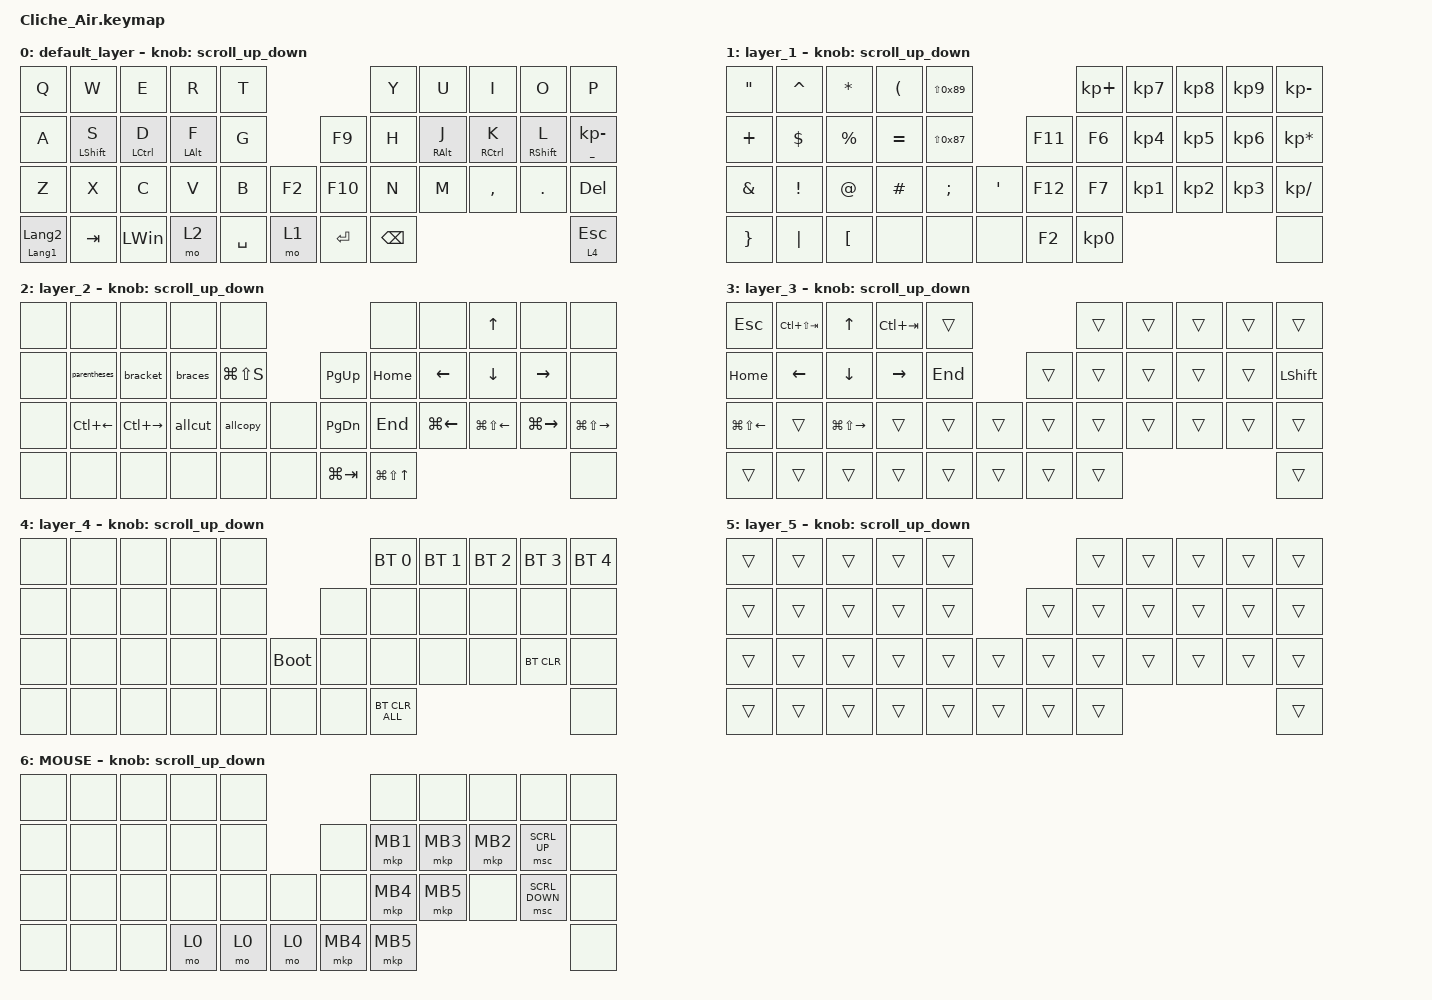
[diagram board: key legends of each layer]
#include <input/processors.dtsi>
#include <dt-bindings/zmk/input_transform.h>
#include <zephyr/dt-bindings/input/input-event-codes.h>
#include <behaviors.dtsi>
#include <dt-bindings/zmk/bt.h>
#include <dt-bindings/zmk/keys.h>
#include <dt-bindings/zmk/pointing.h>

// OS設定を日本語キーボードのまま使用するための変換定義
#define JP_DQUOTE       AT                // "
#define JP_AMPERSAND    CARET             // &
#define JP_QUOTE        AMPERSAND         // '
#define JP_EQUAL        UNDER             // =
#define JP_CARET        EQUAL             // ^
#define JP_YEN          0x89              // ¥
#define JP_PLUS         COLON             // +
#define JP_TILDE        PLUS              // ~
#define JP_PIPE         LS(0x89)          // |
#define JP_AT           LEFT_BRACKET      // @
#define JP_COLON        SINGLE_QUOTE      // :
#define JP_ASTERISK     DOUBLE_QUOTES     // *
#define JP_BACKQUOTE    LEFT_BRACE        // `
#define JP_UNDERSCORE   LS(0x87)          // _
#define JP_LBRACKET     RIGHT_BRACKET     // [
#define JP_RBRACKET     BACKSLASH         // ]
#define JP_LPAREN       ASTERISK          // (
#define JP_RPAREN       LEFT_PARENTHESIS  // )
#define JP_LBRACE       RIGHT_BRACE       // {
#define JP_RBRACE       PIPE              // }
#define JP_KANA         LANGUAGE_1        // かな
#define JP_EISU         LANGUAGE_2        // 英数
#define JP_HANZEN       GRAVE             // 半角/全角

#undef ZMK_POINTING_DEFAULT_SCRL_VAL

#define ZMK_POINTING_DEFAULT_SCRL_VAL 100
#define MOUSE 6

&mkp_input_listener {
    input-processors = <&zip_temp_layer 5 250>;
};

&mt {
    flavor = "balanced";
    quick-tap-ms = <0>;
};

/ {
    macros {
        exit_AML: exit_AML {
            compatible = "zmk,behavior-macro";
            wait-ms = <0>;
            tap-ms = <0>;
            #binding-cells = <0>;
            bindings = <&tog_off MOUSE>;
            label = "exit_AML";
        };

        kp_exit_AML: kp_exit_AML {
            compatible = "zmk,behavior-macro-one-param";
            wait-ms = <0>;
            tap-ms = <0>;
            #binding-cells = <1>;
            bindings = <&macro_param_1to1 &kp MACRO_PLACEHOLDER &exit_AML>;
            label = "KP_exit_AML";
        };
    };

    behaviors {
        tog_off: toggle_layer_off {
            compatible = "zmk,behavior-toggle-layer";
            #binding-cells = <1>;
            display-name = "Toggle Layer Off";
            toggle-mode = "off";
        };

        mt_exit_AML_on_tap: mt_exit_AML_on_tap {
            compatible = "zmk,behavior-hold-tap";
            label = "MT_exit_AML_ON_TAP";
            bindings = <&kp>, <&kp_exit_AML>;

            #binding-cells = <2>;
            tapping-term-ms = <200>;
            flavor = "balanced";
            quick-tap-ms = <200>;
        };
    };
};

/ {
    combos { compatible = "zmk,combos"; };

    macros {
        to_layer_0: to_layer_0 {
            compatible = "zmk,behavior-macro-one-param";
            #binding-cells = <1>;
            bindings = <&to 0 &macro_param_1to1 &kp MACRO_PLACEHOLDER>;
            label = "TO_LAYER_0";
        };

        parentheses: parentheses {
            compatible = "zmk,behavior-macro";
            #binding-cells = <0>;
            bindings = <&kp JP_EISU &kp JP_LPAREN &kp JP_RPAREN &kp LEFT_ARROW>;
            label = "PARENTHESES";
        };

        bracket: bracket {
            compatible = "zmk,behavior-macro";
            #binding-cells = <0>;
            bindings = <&kp JP_EISU &kp JP_LBRACKET &kp JP_RBRACKET &kp LEFT_ARROW>;
            label = "BRACKET";
        };

        braces: braces {
            compatible = "zmk,behavior-macro";
            #binding-cells = <0>;
            bindings = <&kp LANG1 &kp JP_LBRACE &kp JP_RBRACE &kp LEFT_ARROW>;
            label = "BRACES";
        };

        screenshot: screenshot {
            compatible = "zmk,behavior-macro";
            #binding-cells = <0>;
            bindings =
                <&macro_press>,
                <&kp LEFT_WIN>,
                <&macro_press>,
                <&kp LEFT_SHIFT &kp S>;

            label = "SCREENSHOT";
        };

        allcopy: allcopy {
            compatible = "zmk,behavior-macro";
            #binding-cells = <0>;
            bindings = <&macro_press>, <&kp LC(A)>, <&macro_press>, <&kp LC(C)>;

            label = "ALLCOPY";
        };

        allcut: allcut {
            compatible = "zmk,behavior-macro";
            #binding-cells = <0>;
            bindings = <&macro_press>, <&kp LC(A)>, <&macro_press>, <&kp LC(X)>;

            label = "ALLCUT";
        };

        move_to_top: move_to_top {
            compatible = "zmk,behavior-macro";
            #binding-cells = <0>;
            bindings = <&sk RCTRL &kp RIGHT_ARROW>;
            label = "MOVE_TO_TOP";
        };

        move_to_end: move_to_end {
            compatible = "zmk,behavior-macro";
            #binding-cells = <0>;
            bindings = <&sk RCTRL &kp LEFT_ARROW>;
            label = "MOVE_TO_END";
        };
    };

    behaviors {
        lt_to_layer_0: lt_to_layer_0 {
            compatible = "zmk,behavior-hold-tap";
            label = "LAYER_TAP_TO_0";
            bindings = <&mo>, <&to_layer_0>;

            #binding-cells = <2>;
            tapping-term-ms = <200>;
        };

        scroll_up_down: behavior_sensor_rotate_mouse_wheel_up_down {
            compatible = "zmk,behavior-sensor-rotate";
            #sensor-binding-cells = <0>;
            bindings = <&msc SCRL_UP>, <&msc SCRL_DOWN>;

            tap-ms = <20>;
        };
    };

    keymap {
        compatible = "zmk,keymap";

        default_layer {
            bindings = <
&kp Q                &kp W         &kp E        &kp R           &kp T                           &kp Y          &kp U            &kp I        &kp O              &kp P
&kp A                &mt LSHIFT S  &mt LCTRL D  &mt LEFT_ALT F  &kp G                &kp F9     &kp H          &mt RIGHT_ALT J  &mt RCTRL K  &mt RIGHT_SHIFT L  &mt JP_EQUAL KP_MINUS
&kp Z                &kp X         &kp C        &kp V           &kp B      &kp F2    &kp F10    &kp N          &kp M            &kp COMMA    &kp PERIOD         &kp DELETE
&mt JP_KANA  JP_EISU &kp TAB       &kp LWIN     &mo 2           &kp SPACE  &mo 1     &kp ENTER  &kp BACKSPACE                                                   &lt 4 ESCAPE
            >;

            sensor-bindings = <&scroll_up_down>;
        };

        layer_1 {
            bindings = <
&kp JP_ASTERISK  &kp JP_AMPERSAND  &kp JP_LPAREN  &kp JP_RPAREN  &kp JP_PIPE                               &kp KP_PLUS      &kp KP_NUMBER_7  &kp KP_NUMBER_8  &kp KP_NUMBER_9  &kp KP_MINUS
&kp JP_TILDE     &kp DOLLAR        &kp PERCENT    &kp JP_CARET   &kp JP_UNDERSCORE                &kp F11  &kp F6           &kp KP_NUMBER_4  &kp KP_NUMBER_5  &kp KP_NUMBER_6  &kp KP_ASTERISK
&kp JP_QUOTE     &kp EXCLAMATION   &kp JP_DQUOTE  &kp HASH       &kp SEMICOLON      &kp JP_COLON  &kp F12  &kp F7           &kp KP_NUMBER_1  &kp KP_NUMBER_2  &kp KP_NUMBER_3  &kp KP_SLASH
&kp JP_LBRACE    &kp JP_RBRACE     &kp JP_AT      &none          &none              &none         &kp F2   &kp KP_NUMBER_0                                                     &none
            >;

            sensor-bindings = <&scroll_up_down>;
        };

        layer_2 {
            bindings = <
&none         &none               &none                &none          &none                                  &none                 &none               &kp UP_ARROW            &none                &none
&none         &parentheses        &bracket             &braces        &kp LG(LS(S))                          &kp PAGE_UP    &kp HOME              &kp LEFT_ARROW      &kp DOWN_ARROW          &kp RIGHT_ARROW      &none
&none         &kp LC(LEFT_ARROW)  &kp LC(RIGHT_ARROW)  &allcut        &allcopy       &none    &kp PAGE_DOWN  &kp END               &kp LG(LEFT_ARROW)  &kp LG(LS(LEFT_ARROW))  &kp LG(RIGHT_ARROW)  &kp LG(LS(RIGHT_ARROW))
&none         &none               &none                &none          &none          &none    &kp LG(TAB)    &kp LG(LS(UP_ARROW))                                                                   &none
            >;

            sensor-bindings = <&scroll_up_down>;
        };

        layer_3 {
            bindings = <
&kp ESCAPE              &kp LC(LS(TAB))  &kp UP_ARROW             &kp LC(TAB)      &trans                     &trans  &trans  &trans  &trans  &trans
&kp HOME                &kp LEFT_ARROW   &kp DOWN_ARROW           &kp RIGHT_ARROW  &kp END           &trans  &trans  &trans  &trans  &trans  &kp LEFT_SHIFT
&kp LG(LS(LEFT_ARROW))  &trans           &kp LG(LS(RIGHT_ARROW))  &trans           &trans   &trans    &trans  &trans  &trans  &trans  &trans  &trans
&trans                  &trans           &trans                   &trans           &trans   &trans    &trans  &trans                          &trans
            >;

            sensor-bindings = <&scroll_up_down>;
        };

        layer_4 {
            bindings = <
&none  &none  &none  &none  &none                        &bt BT_SEL 0    &bt BT_SEL 1  &bt BT_SEL 2  &bt BT_SEL 3  &bt BT_SEL 4
&none  &none  &none  &none  &none                 &none  &none           &none         &none         &none         &none
&none  &none  &none  &none  &none  &bootloader    &none  &none           &none         &none         &bt BT_CLR    &none
&none  &none  &none  &none  &none  &none          &none  &bt BT_CLR_ALL                                            &none
            >;

            sensor-bindings = <&scroll_up_down>;
        };

        layer_5 {
            bindings = <
&trans  &trans  &trans  &trans  &trans                    &trans  &trans  &trans  &trans  &trans
&trans  &trans  &trans  &trans  &trans           &trans  &trans  &trans  &trans  &trans  &trans
&trans  &trans  &trans  &trans  &trans  &trans    &trans  &trans  &trans  &trans  &trans  &trans
&trans  &trans  &trans  &trans  &trans  &trans    &trans  &trans                          &trans
            >;

            sensor-bindings = <&scroll_up_down>;
        };

        MOUSE {
            bindings = <
&none  &none  &none  &none  &none                     &none     &none     &none     &none           &none
&none  &none  &none  &none  &none           &none     &mkp MB1  &mkp MB3  &mkp MB2  &msc SCRL_UP    &none
&none  &none  &none  &none  &none  &none    &none     &mkp MB4  &mkp MB5  &none     &msc SCRL_DOWN  &none
&none  &none  &none  &mo 0  &mo 0  &mo 0    &mkp MB4  &mkp MB5                                      &none
            >;

            sensor-bindings = <&scroll_up_down>;
        };
    };
};
